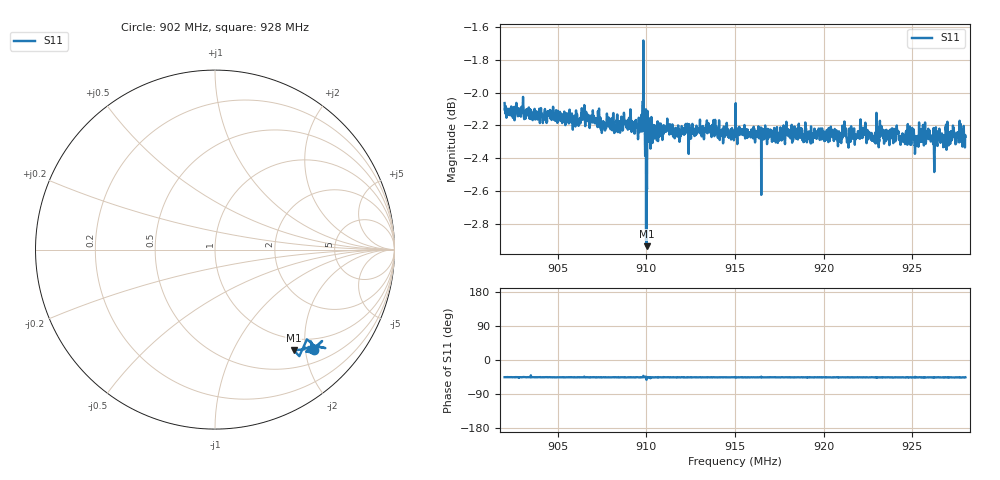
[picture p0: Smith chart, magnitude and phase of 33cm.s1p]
! Calibrated averaged scanner-service zoom
# Hz S RI R 50
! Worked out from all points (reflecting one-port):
!   2001 points, 902 MHz to 928 MHz, reference 50 ohm
!   lowest |S11| = -2.9 dB at 910.01 MHz (marker M1), VSWR 5.97, Z = 39.1 - j89.2 ohm
!   phase of S11 starts at -45 deg and turns -0 deg over the sweep
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9.02e8  0.554 -0.5612
9.03339e8  0.5493 -0.5578
9.03521e8  0.5517 -0.5562
9.03755e8  0.5501 -0.5566
9.0525e8  0.5444 -0.5552
9.06095e8  0.5493 -0.5563
9.06589e8  0.5467 -0.5605
9.0681e8  0.5449 -0.5531
9.085e8  0.5373 -0.5568
9.09644e8  0.5414 -0.5587
9.09709e8  0.5457 -0.5575
9.09839e8  0.5693 -0.5409
9.09904e8  0.5464 -0.5556
9.10008e8  0.4397 -0.5613
9.10125e8  0.5375 -0.5577
9.1019e8  0.5496 -0.5529
9.10346e8  0.5338 -0.5504
9.10671e8  0.5477 -0.5499
9.1175e8  0.5385 -0.5506
9.15e8  0.5354 -0.5536
9.1825e8  0.538 -0.5514
9.215e8  0.5339 -0.5532
9.2475e8  0.5418 -0.557
9.25244e8  0.5324 -0.5506
9.25998e8  0.5389 -0.5509
9.26271e8  0.5351 -0.547
9.26557e8  0.5341 -0.5523
9.28e8  0.5374 -0.5516
